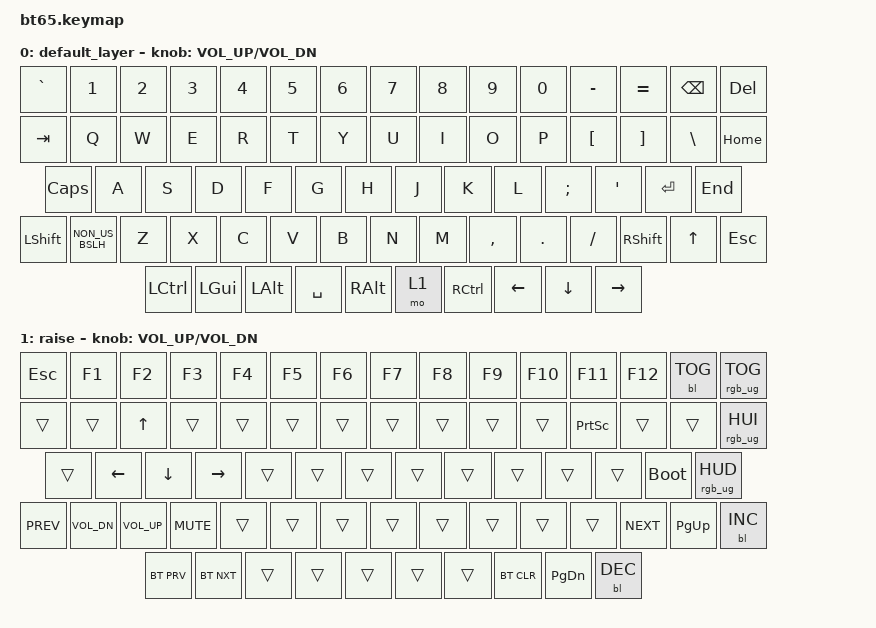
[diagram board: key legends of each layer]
#include <behaviors.dtsi>
#include <dt-bindings/zmk/keys.h>
#include <dt-bindings/zmk/bt.h>
#include <dt-bindings/zmk/rgb.h>
#include <dt-bindings/zmk/backlight.h>
#include <dt-bindings/zmk/ext_power.h>


/ {
	keymap {
		compatible = "zmk,keymap";

		default_layer {
				// ------------------------------------------------------------------------------------------------------------
				// |  `  |  1  |  2  |  3  |  4  |  5  |  6  |  7  |  8  |  9  |  0  |  -  |  =  |BACKSPACE | DEL		|
				// | TAB  |  Q  |  W  |  E  |  R  |  T  |  Y  |  U  |  I  |  O  |  P  |  [  |  ]  |   \    | HOME		|
				// | CAPS  |  A  |  S  |  D  |  F  |  G  |  H  |  J  |  K  |  L  |  ;  |  '  |     ENTER    |END	|
				// |  SHIFT  | <>\ |  Z  |  X  |  C  |  V  |  B  |  N  |  M  |  ,  |  .  | /   |   SHIFT  | UP   | ESC|
				// |  CTL  |  WIN  |  ALT  |            SPACE               | ALT | 1    |  CTL| LEFT |  DOWN    | RIGHT	|
				// ------------------------------------------------------------------------------------------------------------
			bindings = <

				&kp GRAVE &kp N1 &kp N2 &kp N3 &kp N4 &kp N5 &kp N6 &kp N7 &kp  N8   &kp  N9   &kp N0 &kp MINUS &kp EQUAL &kp BACKSPACE &kp DEL
				&kp TAB  &kp Q  &kp W  &kp E  &kp R  &kp T  &kp Y  &kp U  &kp  I    &kp  O  &kp  P   &kp LBKT &kp RBKT  	&kp BSLH &kp HOME
				&kp CLCK  &kp A  &kp S  &kp D  &kp F  &kp G  &kp H  &kp J  &kp  K    &kp  L  &kp SEMI &kp SQT           	&kp RET &kp END
				&kp LSHFT &kp NON_US_BSLH &kp Z  &kp X  &kp C  &kp V  &kp B  &kp N  &kp M  &kp COMMA &kp DOT &kp FSLH   &kp RSHFT &kp UP &kp ESC
				&kp LCTRL &kp LGUI &kp LALT            &kp SPACE                          &kp RALT  &mo 1 &kp RCTRL &kp LEFT &kp DOWN &kp RIGHT
			>;
			sensor-bindings = <&inc_dec_kp C_VOL_UP C_VOL_DN>;
		};
		raise {
			bindings = <
				&kp ESC &kp F1 &kp F2 &kp F3 &kp F4 &kp F5 &kp F6 &kp F7 &kp  F8   &kp  F9   &kp F10  &kp F11 &kp F12 &bl BL_TOG &rgb_ug RGB_TOG
				&trans &trans &kp UP &trans &trans &trans &trans &trans &trans &trans &trans &kp PSCRN &trans &trans &rgb_ug RGB_HUI
				&trans    &kp LEFT &kp DOWN &kp RIGHT &trans &trans &trans &trans &trans &trans &trans  &trans   &bootloader &rgb_ug RGB_HUD
				&kp C_PREV &kp C_VOL_DN &kp C_VOL_UP &kp C_MUTE &trans &trans &trans &trans &trans &trans &trans &trans  &kp C_NEXT &kp PG_UP &bl BL_INC
				&bt BT_PRV &bt BT_NXT  &trans              &trans                            &trans   &trans   &trans &bt BT_CLR &kp PG_DN &bl BL_DEC
			>;
			sensor-bindings = <&inc_dec_kp C_VOL_UP C_VOL_DN>;
		};
	};
};
